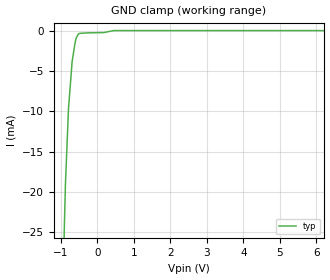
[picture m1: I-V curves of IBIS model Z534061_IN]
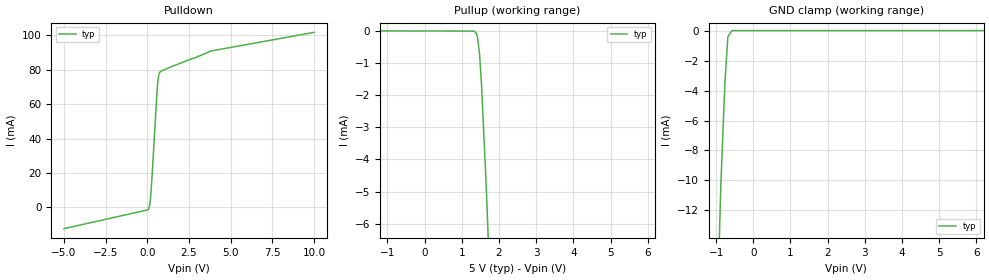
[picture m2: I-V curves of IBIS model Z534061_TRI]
| YOU ARE ONLY AUTHORIZED TO USE THIS SOFTWARE
| ACCORDING TO LICENSOR'S LICENSE RESTRICTIONS.
[IBIS Ver] 3.1
[File Name] sn74ls365aj.ibs
[File Rev] 2.0
[Source] Measured and created by ICX Technology
[Date] Friday 7/14/00 9:08:19 AM
[Copyright]
| (C) COPYRIGHT 1993-2000
| MENTOR GRAPHICS CORPORATION
| ICX STANDARD LIBRARY, ICX PROJECT MODELING,
| ICX CUSTOM MODELING, ICX VENDOR MODEL
| ALL RIGHTS RESERVED.
| THE FOLLOWING ARE TRADEMARKS OR SERVICE MARKS OF
| MENTOR GRAPHICS CORPORATION:ICX (R), ICX STANDARD
| LIBRARY(R), ICX PROJECT MODELING(R), ICX CUSTOM
| MODELING(R), qualityIBIS(TM), MODELVIEWER(TM),
| AND MODELEDITOR(TM)
| ALL COPIES OF SOFTWARE, INCLUDING BUT NOT LIMITED TO
| ANY MODIFICATIONS, ENHANCEMENTS OR DERIVATIVE WORKS,
| MUST CONTAIN ALL MENTOR GRAPHICS CORPORATION'S
| NOTICES AND LEGENDS, INCLUDING THOSE EMBEDDED IN
| SOFTWARE AND THOSE AFFIXED TO SOFTWARE MEDIUM
| AND CONTAINER, AS RECEIVED FROM MENTOR GRAPHICS
| CORPORATION.
|  ZAP Model Builder 2.7
[Component] SN74LS365AJ
[Manufacturer] OnSemiconductor
[Package]
| variable   typ   min   max
R_pkg  .212ohms NA NA
L_pkg  4.758nH NA NA
C_pkg  1.944pF NA NA
[Pin] signal_name  model_name  R_pin  L_pin C_pin
1 _G1 Z534061_IN .224 7.258n 2.683p
2 A0 Z534061_IN .216 5.258n 2.19p
3 Y0 Z534061_TRI .208 3.758n 1.697p
4 A1 Z534061_IN .2 2.758n 1.204p
5 Y1 Z534061_TRI .2 2.758n 1.204p
6 A2 Z534061_IN .208 3.758n 1.697p
7 Y2 Z534061_TRI .216 5.258n 2.19p
8 GND GND .224 7.258n 2.683p
9 Y3 Z534061_TRI .224 7.258n 2.683p
10 A3 Z534061_IN .216 5.258n 2.19p
11 Y4 Z534061_TRI .208 3.758n 1.697p
12 A4 Z534061_IN .2 2.758n 1.204p
13 Y5 Z534061_TRI .2 2.758n 1.204p
14 A5 Z534061_IN .208 3.758n 1.697p
15 _G2 Z534061_IN .216 5.258n 2.19p
16 VCC POWER .224 7.258n 2.683p
| Models and submodels in the file (2): Z534061_IN (Input), Z534061_TRI (3-state)
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| (C) COPYRIGHT 1993-2000
| MENTOR GRAPHICS CORPORATION
| ICX STANDARD LIBRARY, ICX PROJECT MODELING,
| ICX CUSTOM MODELING, ICX VENDOR MODEL
| ALL RIGHTS RESERVED.
| THE FOLLOWING ARE TRADEMARKS OR SERVICE MARKS OF
| MENTOR GRAPHICS CORPORATION:ICX (R), ICX STANDARD
| LIBRARY(R), ICX PROJECT MODELING(R), ICX CUSTOM
| MODELING(R), qualityIBIS(TM), MODELVIEWER(TM),
| AND MODELEDITOR(TM)
| ALL COPIES OF SOFTWARE, INCLUDING BUT NOT LIMITED TO
| ANY MODIFICATIONS, ENHANCEMENTS OR DERIVATIVE WORKS,
| MUST CONTAIN ALL MENTOR GRAPHICS CORPORATION'S
| NOTICES AND LEGENDS, INCLUDING THOSE EMBEDDED IN
| SOFTWARE AND THOSE AFFIXED TO SOFTWARE MEDIUM
| AND CONTAINER, AS RECEIVED FROM MENTOR GRAPHICS
| CORPORATION.
| Model Application Version 1.89 2/18/99.
[Model] Z534061_IN
Model_type Input
Vinl = 800.0mV
Vinh = 2.000V
C_comp 4.000pF NA NA
| variable typ   min   max
[Voltage Range] 5.000V NA NA
[GND Clamp Reference] 0.000V NA NA
[POWER Clamp Reference] 5.000V NA NA
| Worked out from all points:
|   GND clamp passes 1 mA (typ) near -0.58 V on its own axis
[GND Clamp]
-5V       -753.9mA   NA         NA
-874mV    -19.04mA   NA         NA
-789.5mV  -9.631mA   NA         NA
-691.2mV  -3.867mA   NA         NA
-611.7mV  -1.533mA   NA         NA
-580.9mV  -949.9uA   NA         NA
-527.3mV  -454uA     NA         NA
-483.4mV  -334.7uA   NA         NA
-241.7mV  -274.1uA   NA         NA
171.8mV   -241.7uA   NA         NA
449.2mV   7.11uA     NA         NA
10V       7.11uA     NA         NA
[POWER Clamp]
-5V       0A         NA         NA
10V       0A         NA         NA
| (C) COPYRIGHT 1993-2000
| MENTOR GRAPHICS CORPORATION
| ICX STANDARD LIBRARY, ICX PROJECT MODELING,
| ICX CUSTOM MODELING, ICX VENDOR MODEL
| ALL RIGHTS RESERVED.
| THE FOLLOWING ARE TRADEMARKS OR SERVICE MARKS OF
| MENTOR GRAPHICS CORPORATION:ICX (R), ICX STANDARD
| LIBRARY(R), ICX PROJECT MODELING(R), ICX CUSTOM
| MODELING(R), qualityIBIS(TM), MODELVIEWER(TM),
| AND MODELEDITOR(TM)
| ALL COPIES OF SOFTWARE, INCLUDING BUT NOT LIMITED TO
| ANY MODIFICATIONS, ENHANCEMENTS OR DERIVATIVE WORKS,
| MUST CONTAIN ALL MENTOR GRAPHICS CORPORATION'S
| NOTICES AND LEGENDS, INCLUDING THOSE EMBEDDED IN
| SOFTWARE AND THOSE AFFIXED TO SOFTWARE MEDIUM
| AND CONTAINER, AS RECEIVED FROM MENTOR GRAPHICS
| CORPORATION.
| Model Application Version 1.89 2/18/99.
[Model] Z534061_TRI
Model_type 3-state
Vref=588.0mV
Rref=588.5ohms
Cref=45.00pF
Vmeas=1.300V
C_comp 8.000pF NA NA
| variable typ   min   max
[Voltage Range] 5.000V NA NA
[POWER Clamp Reference] 5.000V NA NA
[Pullup Reference] 5.000V NA NA
[Pulldown Reference] 0.000V NA NA
[GND Clamp Reference] 0.000V NA NA
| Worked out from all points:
|   slope of the pulldown table from 0 to 0.75 V, typ, clamps not added: 9.37 ohm
|   GND clamp passes 1 mA (typ) near -0.70 V on its own axis
[GND Clamp]
-5V       -553mA     NA         NA
-1.23V    -46.65mA   NA         NA
-1.054V   -26.45mA   NA         NA
-871.7mV  -10.26mA   NA         NA
-761.8mV  -3.435mA   NA         NA
-683.6mV  -409.4uA   NA         NA
-569.7mV  0A         NA         NA
10V       0A         NA         NA
[Pulldown]
-5V       -12.38mA   NA         NA
68.74mV   -1.13mA    NA         NA
151.1mV   1.455mA    NA         NA
202mV     6.108mA    NA         NA
271.5mV   15.45mA    NA         NA
592.2mV   68.35mA    NA         NA
644.5mV   74.18mA    NA         NA
703.1mV   77.59mA    NA         NA
781.2mV   78.87mA    NA         NA
1.377V    81.59mA    NA         NA
3.82V     90.98mA    NA         NA
10V       101.8mA    NA         NA
[Pullup]
-5V       16.77uA    NA         NA
1.325V    97.65nA    NA         NA
1.383V    -54.59uA   NA         NA
1.421V    -188.8uA   NA         NA
1.475V    -695.3uA   NA         NA
1.528V    -1.626mA   NA         NA
1.655V    -4.78mA    NA         NA
10V       -257.3mA   NA         NA
[POWER Clamp]
-5V       0A         NA         NA
10V       0A         NA         NA
[Ramp]
| variable typ min max
dV/dt_r 1.912/7.569n NA NA
dV/dt_f 1.912/1.505n NA NA
R_load = 500.0Ohms
